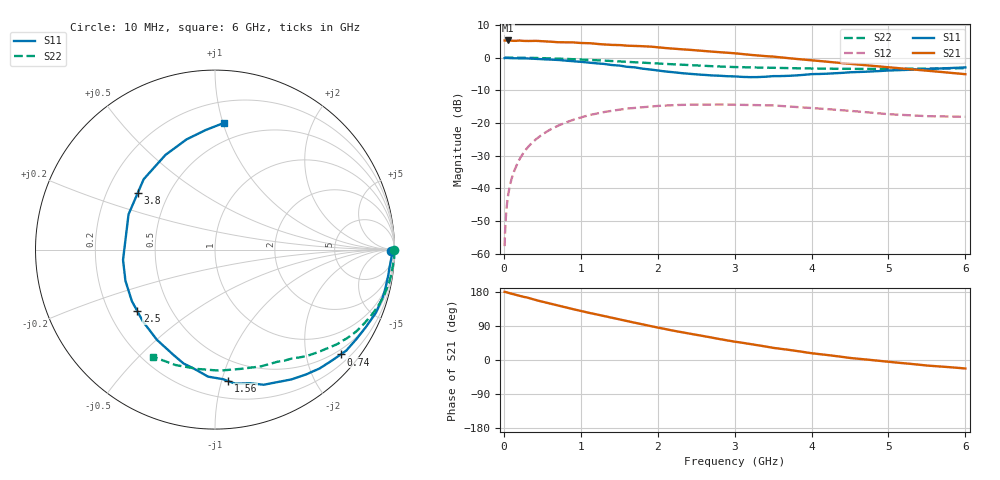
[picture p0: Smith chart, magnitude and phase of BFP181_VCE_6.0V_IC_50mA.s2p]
! Infineon Technologies  Discrete & RF Semiconductors
! BFP181
! VCE = 6.0 V,  IC =  50 mA
! Common Emitter S-Parameters:  Jan 2016
# GHz  S  MA  R  50
!  f  S11  S21  S12  S22
! GHz  MAG  ANG  MAG  ANG  MAG  ANG  MAG  ANG
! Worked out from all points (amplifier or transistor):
!   210 points, 10 MHz to 6 GHz, reference 50 ohm
!   highest |S21| = 5.2 dB at 50 MHz (marker M1)
!   |S21| within 3 dB of that: start of sweep to 2.483 GHz
!   unconditionally stable (mu >= 1): 3.731 GHz to end of sweep
!   at 185 MHz: K = 0.07, MSG = 18.6 dB, |S12| = -32.0 dB
!   at 1.52 GHz: K = 0.45, MSG = 9.8 dB, |S12| = -15.9 dB
!   at 6 GHz: K = 1.44, MAG = 2.6 dB, |S12| = -18.1 dB
!   S11 on the Smith chart (normalised r, x): 10 MHz: 80, -43; 740 MHz: 0.39, -2.71; 1.56 GHz: 0.33, -1.05; 2.5 GHz: 0.32, -0.32; 3.8 GHz: 0.33, +0.29; 6 GHz: 0.36, +1.01
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0.01  0.9808 -0.6  1.825 179.8  0.0013 70.6  0.9987 -0.2
0.015  0.9847 -0.9  1.823 179.7  0.002 81.3  0.9986 -0.4
0.025  0.9879 -1.3  1.823 179.2  0.0034 88.1  0.9986 -0.7
0.05  0.9847 -2.4  1.828 177.5  0.0071 91.0  0.9985 -1.3
0.08  0.9801 -4.3  1.818 175.9  0.0112 86.1  0.9993 -2.1
0.12  0.9769 -6.6  1.807 173.9  0.0165 84.0  0.9984 -3.2
0.26  0.9731 -13.9  1.799 166.5  0.0355 80.0  0.9926 -6.9
0.45  0.9524 -24.4  1.795 156.4  0.0602 72.6  0.9839 -11.7
0.74  0.9122 -39.8  1.717 142.1  0.0944 61.6  0.9615 -19.0
1.02  0.856 -55.0  1.671 128.6  0.1231 51.7  0.9309 -25.6
1.1  0.8393 -59.5  1.667 124.7  0.1307 48.9  0.9225 -27.4
1.56  0.7354 -84.4  1.535 104.6  0.1631 34.7  0.8663 -36.8
1.8  0.6774 -99.0  1.493 93.7  0.1745 28.2  0.834 -41.1
2.02  0.6301 -111.7  1.43 84.8  0.1826 22.2  0.809 -44.9
2.5  0.5525 -141.5  1.29 66.6  0.1905 10.8  0.7553 -52.9
3.1  0.5063 -179.2  1.131 45.5  0.189 -1.3  0.7115 -62.2
3.5  0.5202 157.8  1.035 32.1  0.1852 -8.0  0.6993 -68.5
3.8  0.5333 144.0  0.954 24.0  0.1756 -11.6  0.6855 -74.0
4.1  0.5612 131.7  0.887 15.7  0.1662 -15.1  0.6772 -79.7
4.5  0.5954 117.6  0.804 5.4  0.1531 -18.6  0.6749 -87.8
5.1  0.6393 102.4  0.693 -6.7  0.1342 -18.7  0.6717 -100.4
6  0.7074 86.0  0.557 -22.4  0.1241 -11.5  0.6897 -120.0
